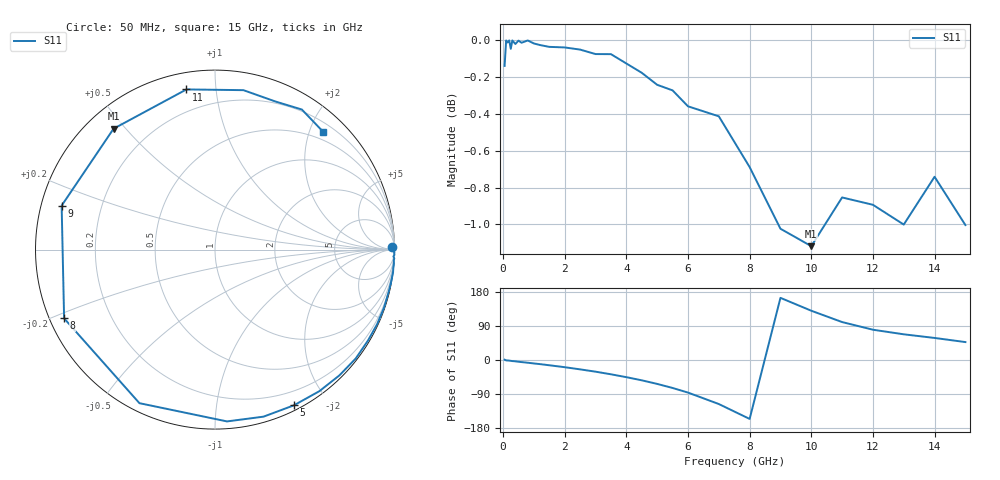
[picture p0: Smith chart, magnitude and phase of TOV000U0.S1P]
! SIEMENS Small Signal Semiconductors
! BAT15-03W
! Si Schottky Diode in SOD323
! VR = 0 V
! S-Parameters:  May  1996
# GHz  S  MA  R  50
!  f  S11
! GHz  MAG  ANG
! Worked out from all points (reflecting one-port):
!   31 points, 50 MHz to 15 GHz, reference 50 ohm
!   lowest |S11| = -1.1 dB at 10 GHz (marker M1), VSWR 15.56, Z = 3.91 + j23.2 ohm
!   phase of S11 starts at 1 deg and turns -314 deg over the sweep
!   S11 on the Smith chart (normalised r, x): 50 MHz: 71, +62; 5 GHz: 0.05, -1.63; 8 GHz: 0.04, -0.22; 9 GHz: 0.06, +0.14; 11 GHz: 0.08, +0.83; 15 GHz: 0.35, +2.24
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0.05  0.9842 0.8
0.1  1 -1.0
0.15  0.9987 -1.2
0.2  1 -1.7
0.25  0.9947 -2.2
0.3  1 -2.8
0.4  0.9978 -3.5
0.5  0.9999 -4.6
0.8  1 -7.2
1.5  0.996 -13.9
2  0.9956 -19.0
2.5  0.9943 -24.7
3  0.9915 -30.8
3.5  0.9915 -37.7
4  0.9857 -45.3
4.5  0.98 -53.6
5  0.9726 -63.1
5.5  0.9692 -73.8
6  0.9596 -86.0
7  0.9536 -116.2
8  0.9238 -155.5
9  0.8889 164.0
10  0.8792 130.0
11  0.9064 100.1
12  0.9023 79.9
13  0.8912 67.8
14  0.9182 58.2
15  0.8909 47.3
